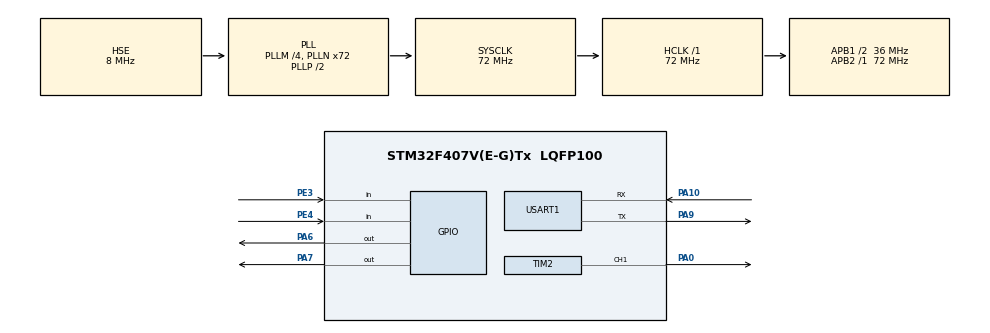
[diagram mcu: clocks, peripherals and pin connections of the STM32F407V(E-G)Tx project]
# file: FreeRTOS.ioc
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FREERTOS.Events01=Sending,Dynamic,NULL;Receiving,Dynamic,NULL
FREERTOS.Tasks01=defaultTask,24,128,StartDefaultTask,Default,NULL,Dynamic,NULL,NULL;Send,8,128,SendTask,Default,NULL,Dynamic,NULL,NULL;Receive,8,128,ReceiveTask,Default,NULL,Dynamic,NULL,NULL
Mcu.Family=STM32F4
Mcu.Name=STM32F407V(E-G)Tx
Mcu.Package=LQFP100
NVIC.PriorityGroup=NVIC_PRIORITYGROUP_4
NVIC.TIM1_UP_TIM10_IRQn=true\:15\:0\:false\:false\:true\:false\:false\:true\:true
NVIC.TimeBase=TIM1_UP_TIM10_IRQn
NVIC.TimeBaseIP=TIM1
NVIC.USART1_IRQn=true\:5\:0\:false\:false\:true\:true\:true\:true\:true
PA0-WKUP.Signal=S_TIM2_CH1_ETR
PA10.Mode=Asynchronous
PA10.Signal=USART1_RX
PA13.Mode=Serial_Wire
PA13.Signal=SYS_JTMS-SWDIO
PA14.Mode=Serial_Wire
PA14.Signal=SYS_JTCK-SWCLK
PA6.Signal=GPIO_Output
PA7.Signal=GPIO_Output
PA9.Mode=Asynchronous
PA9.Signal=USART1_TX
PE3.Signal=GPIO_Input
PE4.Signal=GPIO_Input
PH0-OSC_IN.Mode=HSE-External-Oscillator
PH0-OSC_IN.Signal=RCC_OSC_IN
PH1-OSC_OUT.Mode=HSE-External-Oscillator
PH1-OSC_OUT.Signal=RCC_OSC_OUT
ProjectManager.HeapSize=0x200
ProjectManager.StackSize=0x400
ProjectManager.TargetToolchain=MDK-ARM V5.32
RCC.48MHZClocksFreq_Value=36000000
RCC.AHBFreq_Value=72000000
RCC.APB1CLKDivider=RCC_HCLK_DIV2
RCC.APB1Freq_Value=36000000
RCC.APB1TimFreq_Value=72000000
RCC.APB2Freq_Value=72000000
RCC.APB2TimFreq_Value=72000000
RCC.CortexFreq_Value=72000000
RCC.HCLKFreq_Value=72000000
RCC.HSE_VALUE=8000000
RCC.HSI_VALUE=16000000
RCC.LSE_VALUE=32768
RCC.PLLM=4
RCC.PLLN=72
RCC.PLLSourceVirtual=RCC_PLLSOURCE_HSE
RCC.SYSCLKFreq_VALUE=72000000
RCC.SYSCLKSource=RCC_SYSCLKSOURCE_PLLCLK
RCC.VCOOutputFreq_Value=144000000
SH.S_TIM2_CH1_ETR.0=TIM2_CH1,PWM Generation1 CH1
TIM2.AutoReloadPreload=TIM_AUTORELOAD_PRELOAD_ENABLE
TIM2.Channel-PWM\ Generation1\ CH1=TIM_CHANNEL_1
TIM2.Period=1999
TIM2.Prescaler=719
USART1.VirtualMode=VM_ASYNC
VP_FREERTOS_VS_CMSIS_V2.Mode=CMSIS_V2
VP_SYS_VS_tim1.Mode=TIM1
board=custom

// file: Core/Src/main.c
/* USER CODE BEGIN Header */
/**
  ******************************************************************************
  * @file           : main.c
  * @brief          : Main program body
  ******************************************************************************
  * @attention
  *
  * Copyright (c) 2024 STMicroelectronics.
  * All rights reserved.
  *
  * This software is licensed under terms that can be found in the LICENSE file
  * in the root directory of this software component.
  * If no LICENSE file comes with this software, it is provided AS-IS.
  *
  ******************************************************************************
  */
/* USER CODE END Header */
#include "main.h"
#include "cmsis_os.h"
#include "tim.h"
#include "usart.h"
#include "gpio.h"

/* USER CODE BEGIN Includes */
#include <stdio.h>
/* USER CODE END Includes */

void SystemClock_Config(void);
void MX_FREERTOS_Init(void);

int main(void)
{

  /* MCU Configuration--------------------------------------------------------*/

  /* Reset of all peripherals, Initializes the Flash interface and the Systick. */
  HAL_Init();

  /* Configure the system clock */
  SystemClock_Config();

  /* Initialize all configured peripherals */
  MX_GPIO_Init();
  MX_USART1_UART_Init();
  MX_TIM2_Init();
  /* USER CODE BEGIN 2 */
  HAL_TIM_PWM_Start(&htim2,TIM_CHANNEL_1);
  /* USER CODE END 2 */

  /* Init scheduler */
  osKernelInitialize();

  /* Call init function for freertos objects (in cmsis_os2.c) */
  MX_FREERTOS_Init();

  /* Start scheduler */
  osKernelStart();

  /* We should never get here as control is now taken by the scheduler */

  /* Infinite loop */
  /* USER CODE BEGIN WHILE */
  // printf("Initial Correct\n");
  while (1)
  {
    // printf("In while loop\n");
    /* USER CODE END WHILE */

  }
}

void SystemClock_Config(void)
{
  RCC_OscInitTypeDef RCC_OscInitStruct = {0};
  RCC_ClkInitTypeDef RCC_ClkInitStruct = {0};

  /** Configure the main internal regulator output voltage
  */
  __HAL_RCC_PWR_CLK_ENABLE();
  __HAL_PWR_VOLTAGESCALING_CONFIG(PWR_REGULATOR_VOLTAGE_SCALE1);

  /** Initializes the RCC Oscillators according to the specified parameters
  * in the RCC_OscInitTypeDef structure.
  */
  RCC_OscInitStruct.OscillatorType = RCC_OSCILLATORTYPE_HSE;
  RCC_OscInitStruct.HSEState = RCC_HSE_ON;
  RCC_OscInitStruct.PLL.PLLState = RCC_PLL_ON;
  RCC_OscInitStruct.PLL.PLLSource = RCC_PLLSOURCE_HSE;
  RCC_OscInitStruct.PLL.PLLM = 4;
  RCC_OscInitStruct.PLL.PLLN = 72;
  RCC_OscInitStruct.PLL.PLLP = RCC_PLLP_DIV2;
  RCC_OscInitStruct.PLL.PLLQ = 4;
  if (HAL_RCC_OscConfig(&RCC_OscInitStruct) != HAL_OK)
  {
    Error_Handler();
  }

  /** Initializes the CPU, AHB and APB buses clocks
  */
  RCC_ClkInitStruct.ClockType = RCC_CLOCKTYPE_HCLK|RCC_CLOCKTYPE_SYSCLK
                              |RCC_CLOCKTYPE_PCLK1|RCC_CLOCKTYPE_PCLK2;
  RCC_ClkInitStruct.SYSCLKSource = RCC_SYSCLKSOURCE_PLLCLK;
  RCC_ClkInitStruct.AHBCLKDivider = RCC_SYSCLK_DIV1;
  RCC_ClkInitStruct.APB1CLKDivider = RCC_HCLK_DIV2;
  RCC_ClkInitStruct.APB2CLKDivider = RCC_HCLK_DIV1;

  if (HAL_RCC_ClockConfig(&RCC_ClkInitStruct, FLASH_LATENCY_2) != HAL_OK)
  {
    Error_Handler();
  }
}

void HAL_TIM_PeriodElapsedCallback(TIM_HandleTypeDef *htim)
{
  if (htim->Instance == TIM1) {
    HAL_IncTick();
  }
}

void Error_Handler(void)
{
  __disable_irq();
  while (1)
  {
  }
}

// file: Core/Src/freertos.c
/* USER CODE BEGIN Header */
/**
  ******************************************************************************
  * File Name          : freertos.c
  * Description        : Code for freertos applications
  ******************************************************************************
  * @attention
  *
  * Copyright (c) 2024 STMicroelectronics.
  * All rights reserved.
  *
  * This software is licensed under terms that can be found in the LICENSE file
  * in the root directory of this software component.
  * If no LICENSE file comes with this software, it is provided AS-IS.
  *
  ******************************************************************************
  */
/* USER CODE END Header */

#include "FreeRTOS.h"
#include "task.h"
#include "main.h"
#include "cmsis_os.h"

/* USER CODE BEGIN Includes */
#include<stdio.h>
#include "tim.h"
/* USER CODE END Includes */

/* Definitions for defaultTask */
osThreadId_t defaultTaskHandle;
const osThreadAttr_t defaultTask_attributes = {
  .name = "defaultTask",
  .stack_size = 128 * 4,
  .priority = (osPriority_t) osPriorityNormal,
};
/* Definitions for Send */
osThreadId_t SendHandle;
const osThreadAttr_t Send_attributes = {
  .name = "Send",
  .stack_size = 128 * 4,
  .priority = (osPriority_t) osPriorityLow,
};
/* Definitions for Receive */
osThreadId_t ReceiveHandle;
const osThreadAttr_t Receive_attributes = {
  .name = "Receive",
  .stack_size = 128 * 4,
  .priority = (osPriority_t) osPriorityLow,
};
/* Definitions for Sending */
osEventFlagsId_t SendingHandle;
const osEventFlagsAttr_t Sending_attributes = {
  .name = "Sending"
};
/* Definitions for Receiving */
osEventFlagsId_t ReceivingHandle;
const osEventFlagsAttr_t Receiving_attributes = {
  .name = "Receiving"
};

void StartDefaultTask(void *argument);
void SendTask(void *argument);
void ReceiveTask(void *argument);

void MX_FREERTOS_Init(void); /* (MISRA C 2004 rule 8.1) */

void MX_FREERTOS_Init(void) {

  /* Create the thread(s) */
  /* creation of defaultTask */
  defaultTaskHandle = osThreadNew(StartDefaultTask, NULL, &defaultTask_attributes);

  /* creation of Send */
  SendHandle = osThreadNew(SendTask, NULL, &Send_attributes);

  /* creation of Receive */
  ReceiveHandle = osThreadNew(ReceiveTask, NULL, &Receive_attributes);

  /* Create the event(s) */
  /* creation of Sending */
  SendingHandle = osEventFlagsNew(&Sending_attributes);

  /* creation of Receiving */
  ReceivingHandle = osEventFlagsNew(&Receiving_attributes);

}

void StartDefaultTask(void *argument)
{
  /* USER CODE BEGIN StartDefaultTask */
  /* Infinite loop */
  for(;;)
  {
    printf("Default Task %d\n",defaultTask_attributes.priority);
    osDelay(1);
  }
  /* USER CODE END StartDefaultTask */
}

void SendTask(void *argument)
{
  /* USER CODE BEGIN SendTask */
  /* Infinite loop */
  int sendflag = 1;
  for(;;)
  {
    printf("Send Task %d %d\n",Send_attributes.priority, sendflag);
    HAL_GPIO_WritePin(GPIOA,GPIO_PIN_6,sendflag);
    __HAL_TIM_SET_COMPARE(&htim2,TIM_CHANNEL_1,50);
    sendflag = !sendflag;
    osDelay(80);
  }
  /* USER CODE END SendTask */
}

void ReceiveTask(void *argument)
{
  /* USER CODE BEGIN ReceiveTask */
  /* Infinite loop */
  // char *task_data;
  // task_data = (char*) argument;
  int recflag = 1;
  for(;;)
  {
    printf("Receive Task %d %d\n",Receive_attributes.priority,recflag);
    HAL_GPIO_WritePin(GPIOA,GPIO_PIN_7,recflag);
    __HAL_TIM_SET_COMPARE(&htim2,TIM_CHANNEL_1,200);
    recflag = !recflag;
    osDelay(60);
  }
  /* USER CODE END ReceiveTask */
}
